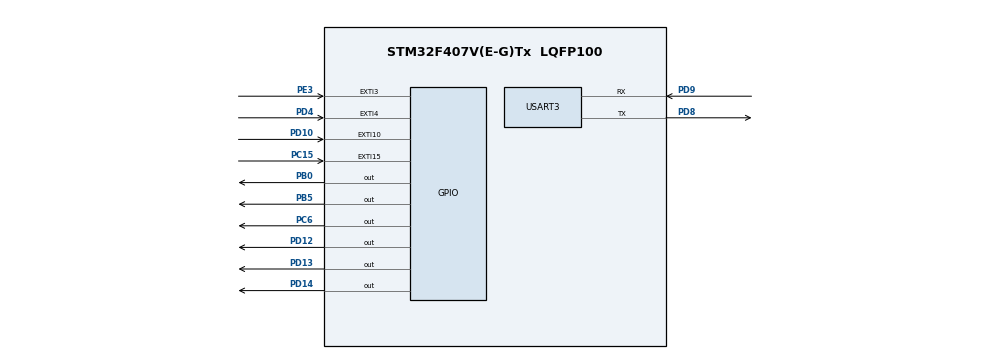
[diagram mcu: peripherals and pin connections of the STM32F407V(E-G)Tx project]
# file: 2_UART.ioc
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Dma.Request0=USART3_RX
Dma.USART3_RX.0.Direction=DMA_PERIPH_TO_MEMORY
Dma.USART3_RX.0.FIFOMode=DMA_FIFOMODE_DISABLE
Dma.USART3_RX.0.Instance=DMA1_Stream1
Dma.USART3_RX.0.MemDataAlignment=DMA_MDATAALIGN_BYTE
Dma.USART3_RX.0.MemInc=DMA_MINC_ENABLE
Dma.USART3_RX.0.Mode=DMA_NORMAL
Dma.USART3_RX.0.PeriphDataAlignment=DMA_PDATAALIGN_BYTE
Dma.USART3_RX.0.PeriphInc=DMA_PINC_DISABLE
Dma.USART3_RX.0.Priority=DMA_PRIORITY_LOW
Mcu.Family=STM32F4
Mcu.Name=STM32F407V(E-G)Tx
Mcu.Package=LQFP100
NVIC.DMA1_Stream1_IRQn=true\:0\:0\:false\:false\:true\:false\:true\:true
NVIC.EXTI15_10_IRQn=true\:0\:0\:false\:false\:true\:true\:true\:true
NVIC.EXTI3_IRQn=true\:0\:0\:false\:false\:true\:true\:true\:true
NVIC.EXTI4_IRQn=true\:0\:0\:false\:false\:true\:true\:true\:true
NVIC.PriorityGroup=NVIC_PRIORITYGROUP_4
NVIC.USART3_IRQn=true\:0\:0\:false\:false\:true\:true\:true\:true
PB0.PinState=GPIO_PIN_SET
PB0.Signal=GPIO_Output
PB5.PinState=GPIO_PIN_SET
PB5.Signal=GPIO_Output
PC15-OSC32_OUT.Signal=GPXTI15
PC6.PinState=GPIO_PIN_SET
PC6.Signal=GPIO_Output
PD10.Signal=GPXTI10
PD12.PinState=GPIO_PIN_SET
PD12.Signal=GPIO_Output
PD13.PinState=GPIO_PIN_SET
PD13.Signal=GPIO_Output
PD14.PinState=GPIO_PIN_SET
PD14.Signal=GPIO_Output
PD4.Signal=GPXTI4
PD8.Mode=Asynchronous
PD8.Signal=USART3_TX
PD9.Mode=Asynchronous
PD9.Signal=USART3_RX
PE3.Signal=GPXTI3
PH0-OSC_IN.Mode=HSE-External-Oscillator
PH0-OSC_IN.Signal=RCC_OSC_IN
PH1-OSC_OUT.Mode=HSE-External-Oscillator
PH1-OSC_OUT.Signal=RCC_OSC_OUT
ProjectManager.HeapSize=0x200
ProjectManager.StackSize=0x400
ProjectManager.TargetToolchain=CMake
RCC.48MHZClocksFreq_Value=84000000
RCC.AHBFreq_Value=168000000
RCC.APB1CLKDivider=RCC_HCLK_DIV4
RCC.APB1Freq_Value=42000000
RCC.APB1TimFreq_Value=84000000
RCC.APB2CLKDivider=RCC_HCLK_DIV2
RCC.APB2Freq_Value=84000000
RCC.APB2TimFreq_Value=168000000
RCC.CortexFreq_Value=168000000
RCC.HCLKFreq_Value=168000000
RCC.HSE_VALUE=8000000
RCC.HSI_VALUE=16000000
RCC.LSE_VALUE=32768
RCC.PLLM=4
RCC.PLLN=168
RCC.PLLSourceVirtual=RCC_PLLSOURCE_HSE
RCC.SYSCLKFreq_VALUE=168000000
RCC.SYSCLKSource=RCC_SYSCLKSOURCE_PLLCLK
RCC.VCOOutputFreq_Value=336000000
USART3.VirtualMode=VM_ASYNC
board=custom

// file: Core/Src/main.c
/* USER CODE BEGIN Header */
/**
 ******************************************************************************
 * @file           : main.c
 * @brief          : Main program body
 ******************************************************************************
 * @attention
 *
 * Copyright (c) 2024 STMicroelectronics.
 * All rights reserved.
 *
 * This software is licensed under terms that can be found in the LICENSE file
 * in the root directory of this software component.
 * If no LICENSE file comes with this software, it is provided AS-IS.
 *
 ******************************************************************************
 */
/* USER CODE END Header */
#include "main.h"

/* USER CODE BEGIN Includes */
#include "_ringbuffer.h"
/* USER CODE END Includes */

/* USER CODE BEGIN PV */
//= Uart Interrupt code
ring_buffer_t ring_buffer;
uint8_t usart3_idle = 0;
char txData;

uint32_t bufidx = 0;
uint8_t buffer[256];
/* USER CODE END PV */

void SystemClock_Config(void);
static void MX_GPIO_Init(void);
static void MX_DMA_Init(void);
static void MX_USART3_UART_Init(void);
/* USER CODE BEGIN PFP */
uint8_t UART3_Rx();
void UART3_Tx(uint8_t data);
/* USER CODE END PFP */

int main(void) {

  /* MCU Configuration--------------------------------------------------------*/

  /* Reset of all peripherals, Initializes the Flash interface and the Systick.
   */
  HAL_Init();

  /* Configure the system clock */
  SystemClock_Config();

  /* Initialize all configured peripherals */
  MX_GPIO_Init();
  MX_DMA_Init();
  MX_USART3_UART_Init();
  /* USER CODE BEGIN 2 */
  //= Uart Interrupt code
  /*LL_USART_EnableIT_RXNE(USART3);
  LL_USART_EnableIT_IDLE(USART3);
  LL_USART_EnableIT_ERROR(USART3);

  RingBuffer_Init(&ring_buffer);*/

  //= Uart DMA code
  LL_DMA_ConfigAddresses(DMA1, LL_DMA_STREAM_1, LL_USART_DMA_GetRegAddr(USART3),
                         (uint32_t)buffer, LL_DMA_DIRECTION_PERIPH_TO_MEMORY);
  LL_DMA_SetDataLength(DMA1, LL_DMA_STREAM_1, sizeof(buffer));
  LL_USART_EnableIT_IDLE(USART3);
  LL_USART_EnableDMAReq_RX(USART3);
  LL_DMA_EnableStream(DMA1, LL_DMA_STREAM_1);
  /* USER CODE END 2 */

  /* Infinite loop */
  /* USER CODE BEGIN WHILE */
  while (1) {
    //= UART falling code => make Function UART3_Rx, UART_Tx
    /*UART3_Tx(UART3_Rx());*/

    //= Uart interrupt code
    /*if (usart3_idle) {
      LL_USART_DisableIT_RXNE(USART3);

      while (!RingBuffer_IsEmpty(&ring_buffer)) {
        RingBuffer_Dequeue(&ring_buffer, &txData);
        UART3_Tx(txData);
      }

      LL_USART_EnableIT_RXNE(USART3);

      usart3_idle = 0;
    }*/

    //= Uart DMA code
    if (usart3_idle) {
      LL_DMA_DisableStream(DMA1, LL_DMA_STREAM_1);
      //= LL_DMA_GetDataLength => left size for DMA
      bufidx = sizeof(buffer) - LL_DMA_GetDataLength(DMA1, LL_DMA_STREAM_1);

      for (int i = 0; i < bufidx; i++) {
        UART3_Tx(buffer[i]);
      }

      bufidx = 0;
      usart3_idle = 0;

      LL_DMA_ClearFlag_DME1(DMA1);
      LL_DMA_ClearFlag_FE1(DMA1);
      LL_DMA_ClearFlag_HT1(DMA1);
      LL_DMA_ClearFlag_TC1(DMA1);
      LL_DMA_ClearFlag_TE1(DMA1);

      LL_DMA_EnableStream(DMA1, LL_DMA_STREAM_1);
    }
    /* USER CODE END WHILE */

  }
}

void SystemClock_Config(void) {
  LL_FLASH_SetLatency(LL_FLASH_LATENCY_5);
  while (LL_FLASH_GetLatency() != LL_FLASH_LATENCY_5) {
  }
  LL_PWR_SetRegulVoltageScaling(LL_PWR_REGU_VOLTAGE_SCALE1);
  LL_RCC_HSE_Enable();

  /* Wait till HSE is ready */
  while (LL_RCC_HSE_IsReady() != 1) {
  }
  LL_RCC_PLL_ConfigDomain_SYS(LL_RCC_PLLSOURCE_HSE, LL_RCC_PLLM_DIV_4, 168,
                              LL_RCC_PLLP_DIV_2);
  LL_RCC_PLL_Enable();

  /* Wait till PLL is ready */
  while (LL_RCC_PLL_IsReady() != 1) {
  }
  while (LL_PWR_IsActiveFlag_VOS() == 0) {
  }
  LL_RCC_SetAHBPrescaler(LL_RCC_SYSCLK_DIV_1);
  LL_RCC_SetAPB1Prescaler(LL_RCC_APB1_DIV_4);
  LL_RCC_SetAPB2Prescaler(LL_RCC_APB2_DIV_2);
  LL_RCC_SetSysClkSource(LL_RCC_SYS_CLKSOURCE_PLL);

  /* Wait till System clock is ready */
  while (LL_RCC_GetSysClkSource() != LL_RCC_SYS_CLKSOURCE_STATUS_PLL) {
  }
  LL_SetSystemCoreClock(168000000);

  /* Update the time base */
  if (HAL_InitTick(TICK_INT_PRIORITY) != HAL_OK) {
    Error_Handler();
  }
}

static void MX_USART3_UART_Init(void) {

  LL_USART_InitTypeDef USART_InitStruct = {0};

  LL_GPIO_InitTypeDef GPIO_InitStruct = {0};

  /* Peripheral clock enable */
  LL_APB1_GRP1_EnableClock(LL_APB1_GRP1_PERIPH_USART3);

  LL_AHB1_GRP1_EnableClock(LL_AHB1_GRP1_PERIPH_GPIOD);
  /**USART3 GPIO Configuration
  PD8   ------> USART3_TX
  PD9   ------> USART3_RX
  */
  GPIO_InitStruct.Pin = LL_GPIO_PIN_8 | LL_GPIO_PIN_9;
  GPIO_InitStruct.Mode = LL_GPIO_MODE_ALTERNATE;
  GPIO_InitStruct.Speed = LL_GPIO_SPEED_FREQ_VERY_HIGH;
  GPIO_InitStruct.OutputType = LL_GPIO_OUTPUT_PUSHPULL;
  GPIO_InitStruct.Pull = LL_GPIO_PULL_NO;
  GPIO_InitStruct.Alternate = LL_GPIO_AF_7;
  LL_GPIO_Init(GPIOD, &GPIO_InitStruct);

  /* USART3 DMA Init */

  /* USART3_RX Init */
  LL_DMA_SetChannelSelection(DMA1, LL_DMA_STREAM_1, LL_DMA_CHANNEL_4);

  LL_DMA_SetDataTransferDirection(DMA1, LL_DMA_STREAM_1,
                                  LL_DMA_DIRECTION_PERIPH_TO_MEMORY);

  LL_DMA_SetStreamPriorityLevel(DMA1, LL_DMA_STREAM_1, LL_DMA_PRIORITY_LOW);

  LL_DMA_SetMode(DMA1, LL_DMA_STREAM_1, LL_DMA_MODE_NORMAL);

  LL_DMA_SetPeriphIncMode(DMA1, LL_DMA_STREAM_1, LL_DMA_PERIPH_NOINCREMENT);

  LL_DMA_SetMemoryIncMode(DMA1, LL_DMA_STREAM_1, LL_DMA_MEMORY_INCREMENT);

  LL_DMA_SetPeriphSize(DMA1, LL_DMA_STREAM_1, LL_DMA_PDATAALIGN_BYTE);

  LL_DMA_SetMemorySize(DMA1, LL_DMA_STREAM_1, LL_DMA_MDATAALIGN_BYTE);

  LL_DMA_DisableFifoMode(DMA1, LL_DMA_STREAM_1);

  /* USART3 interrupt Init */
  NVIC_SetPriority(USART3_IRQn,
                   NVIC_EncodePriority(NVIC_GetPriorityGrouping(), 0, 0));
  NVIC_EnableIRQ(USART3_IRQn);

  USART_InitStruct.BaudRate = 115200;
  USART_InitStruct.DataWidth = LL_USART_DATAWIDTH_8B;
  USART_InitStruct.StopBits = LL_USART_STOPBITS_1;
  USART_InitStruct.Parity = LL_USART_PARITY_NONE;
  USART_InitStruct.TransferDirection = LL_USART_DIRECTION_TX_RX;
  USART_InitStruct.HardwareFlowControl = LL_USART_HWCONTROL_NONE;
  USART_InitStruct.OverSampling = LL_USART_OVERSAMPLING_16;
  LL_USART_Init(USART3, &USART_InitStruct);
  LL_USART_ConfigAsyncMode(USART3);
  LL_USART_Enable(USART3);
}

static void MX_DMA_Init(void) {
  /* DMA controller clock enable */
  __HAL_RCC_DMA1_CLK_ENABLE();

  /* DMA interrupt init */
  /* DMA1_Stream1_IRQn interrupt configuration */
  NVIC_SetPriority(DMA1_Stream1_IRQn,
                   NVIC_EncodePriority(NVIC_GetPriorityGrouping(), 0, 0));
  NVIC_EnableIRQ(DMA1_Stream1_IRQn);
}

static void MX_GPIO_Init(void) {
  LL_EXTI_InitTypeDef EXTI_InitStruct = {0};
  LL_GPIO_InitTypeDef GPIO_InitStruct = {0};

  /* GPIO Ports Clock Enable */
  LL_AHB1_GRP1_EnableClock(LL_AHB1_GRP1_PERIPH_GPIOE);
  LL_AHB1_GRP1_EnableClock(LL_AHB1_GRP1_PERIPH_GPIOC);
  LL_AHB1_GRP1_EnableClock(LL_AHB1_GRP1_PERIPH_GPIOH);
  LL_AHB1_GRP1_EnableClock(LL_AHB1_GRP1_PERIPH_GPIOB);
  LL_AHB1_GRP1_EnableClock(LL_AHB1_GRP1_PERIPH_GPIOD);

  /**/
  LL_GPIO_SetOutputPin(GPIOB, LL_GPIO_PIN_0 | LL_GPIO_PIN_5);

  /**/
  LL_GPIO_SetOutputPin(GPIOD, LL_GPIO_PIN_12 | LL_GPIO_PIN_13 | LL_GPIO_PIN_14);

  /**/
  LL_GPIO_SetOutputPin(GPIOC, LL_GPIO_PIN_6);

  /**/
  LL_SYSCFG_SetEXTISource(LL_SYSCFG_EXTI_PORTE, LL_SYSCFG_EXTI_LINE3);

  /**/
  LL_SYSCFG_SetEXTISource(LL_SYSCFG_EXTI_PORTC, LL_SYSCFG_EXTI_LINE15);

  /**/
  LL_SYSCFG_SetEXTISource(LL_SYSCFG_EXTI_PORTD, LL_SYSCFG_EXTI_LINE10);

  /**/
  LL_SYSCFG_SetEXTISource(LL_SYSCFG_EXTI_PORTD, LL_SYSCFG_EXTI_LINE4);

  /**/
  EXTI_InitStruct.Line_0_31 = LL_EXTI_LINE_3;
  EXTI_InitStruct.LineCommand = ENABLE;
  EXTI_InitStruct.Mode = LL_EXTI_MODE_IT;
  EXTI_InitStruct.Trigger = LL_EXTI_TRIGGER_RISING;
  LL_EXTI_Init(&EXTI_InitStruct);

  /**/
  EXTI_InitStruct.Line_0_31 = LL_EXTI_LINE_15;
  EXTI_InitStruct.LineCommand = ENABLE;
  EXTI_InitStruct.Mode = LL_EXTI_MODE_IT;
  EXTI_InitStruct.Trigger = LL_EXTI_TRIGGER_RISING;
  LL_EXTI_Init(&EXTI_InitStruct);

  /**/
  EXTI_InitStruct.Line_0_31 = LL_EXTI_LINE_10;
  EXTI_InitStruct.LineCommand = ENABLE;
  EXTI_InitStruct.Mode = LL_EXTI_MODE_IT;
  EXTI_InitStruct.Trigger = LL_EXTI_TRIGGER_RISING;
  LL_EXTI_Init(&EXTI_InitStruct);

  /**/
  EXTI_InitStruct.Line_0_31 = LL_EXTI_LINE_4;
  EXTI_InitStruct.LineCommand = ENABLE;
  EXTI_InitStruct.Mode = LL_EXTI_MODE_IT;
  EXTI_InitStruct.Trigger = LL_EXTI_TRIGGER_RISING;
  LL_EXTI_Init(&EXTI_InitStruct);

  /**/
  LL_GPIO_SetPinPull(GPIOE, LL_GPIO_PIN_3, LL_GPIO_PULL_NO);

  /**/
  LL_GPIO_SetPinPull(GPIOC, LL_GPIO_PIN_15, LL_GPIO_PULL_NO);

  /**/
  LL_GPIO_SetPinPull(GPIOD, LL_GPIO_PIN_10, LL_GPIO_PULL_NO);

  /**/
  LL_GPIO_SetPinPull(GPIOD, LL_GPIO_PIN_4, LL_GPIO_PULL_NO);

  /**/
  LL_GPIO_SetPinMode(GPIOE, LL_GPIO_PIN_3, LL_GPIO_MODE_INPUT);

  /**/
  LL_GPIO_SetPinMode(GPIOC, LL_GPIO_PIN_15, LL_GPIO_MODE_INPUT);

  /**/
  LL_GPIO_SetPinMode(GPIOD, LL_GPIO_PIN_10, LL_GPIO_MODE_INPUT);

  /**/
  LL_GPIO_SetPinMode(GPIOD, LL_GPIO_PIN_4, LL_GPIO_MODE_INPUT);

  /**/
  GPIO_InitStruct.Pin = LL_GPIO_PIN_0 | LL_GPIO_PIN_5;
  GPIO_InitStruct.Mode = LL_GPIO_MODE_OUTPUT;
  GPIO_InitStruct.Speed = LL_GPIO_SPEED_FREQ_LOW;
  GPIO_InitStruct.OutputType = LL_GPIO_OUTPUT_PUSHPULL;
  GPIO_InitStruct.Pull = LL_GPIO_PULL_NO;
  LL_GPIO_Init(GPIOB, &GPIO_InitStruct);

  /**/
  GPIO_InitStruct.Pin = LL_GPIO_PIN_12 | LL_GPIO_PIN_13 | LL_GPIO_PIN_14;
  GPIO_InitStruct.Mode = LL_GPIO_MODE_OUTPUT;
  GPIO_InitStruct.Speed = LL_GPIO_SPEED_FREQ_LOW;
  GPIO_InitStruct.OutputType = LL_GPIO_OUTPUT_PUSHPULL;
  GPIO_InitStruct.Pull = LL_GPIO_PULL_NO;
  LL_GPIO_Init(GPIOD, &GPIO_InitStruct);

  /**/
  GPIO_InitStruct.Pin = LL_GPIO_PIN_6;
  GPIO_InitStruct.Mode = LL_GPIO_MODE_OUTPUT;
  GPIO_InitStruct.Speed = LL_GPIO_SPEED_FREQ_LOW;
  GPIO_InitStruct.OutputType = LL_GPIO_OUTPUT_PUSHPULL;
  GPIO_InitStruct.Pull = LL_GPIO_PULL_NO;
  LL_GPIO_Init(GPIOC, &GPIO_InitStruct);

  /* EXTI interrupt init*/
  NVIC_SetPriority(EXTI3_IRQn,
                   NVIC_EncodePriority(NVIC_GetPriorityGrouping(), 0, 0));
  NVIC_EnableIRQ(EXTI3_IRQn);
  NVIC_SetPriority(EXTI4_IRQn,
                   NVIC_EncodePriority(NVIC_GetPriorityGrouping(), 0, 0));
  NVIC_EnableIRQ(EXTI4_IRQn);
  NVIC_SetPriority(EXTI15_10_IRQn,
                   NVIC_EncodePriority(NVIC_GetPriorityGrouping(), 0, 0));
  NVIC_EnableIRQ(EXTI15_10_IRQn);

}

/* USER CODE BEGIN 4 */
uint8_t UART3_Rx() {
  while (!LL_USART_IsActiveFlag_RXNE(USART3));

  return LL_USART_ReceiveData8(USART3);
}
void UART3_Tx(uint8_t data) {
  while (!LL_USART_IsActiveFlag_TXE(USART3));

  LL_USART_TransmitData8(USART3, data);
}
/* USER CODE END 4 */

void Error_Handler(void) {
  __disable_irq();
  while (1) {
  }
}

#ifdef USE_FULL_ASSERT
/**
 * @brief  Reports the name of the source file and the source line number
 *         where the assert_param error has occurred.
 * @param  file: pointer to the source file name
 * @param  line: assert_param error line source number
 * @retval None
 */
void assert_failed(uint8_t *file, uint32_t line) {
  /* USER CODE BEGIN 6 */
  /* User can add his own implementation to report the file name and line
     number, ex: printf("Wrong parameters value: file %s on line %d\r\n", file,
     line) */
  /* USER CODE END 6 */
}
#endif /* USE_FULL_ASSERT */
